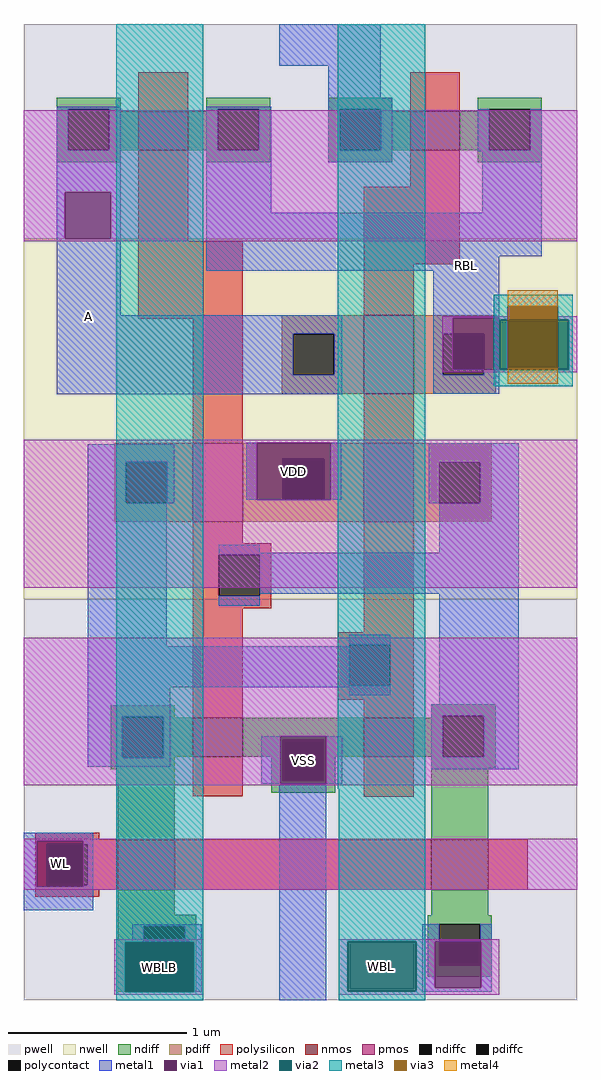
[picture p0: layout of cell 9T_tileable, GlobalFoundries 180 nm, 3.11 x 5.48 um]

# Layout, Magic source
magic
tech gf180mcuD
magscale 1 10
<< nwell >>
rect -143 -79 479 326
<< pwell >>
rect -143 326 479 567
rect -143 -529 479 -79
<< nmos >>
rect -14 425 42 469
rect 291 425 347 469
rect 47 -256 103 -212
rect 239 -256 295 -212
rect -37 -405 27 -349
rect 315 -405 379 -349
<< pmos >>
rect 239 152 295 240
rect 47 8 103 96
rect 239 8 295 96
<< ndiff >>
rect -106 471 -34 484
rect -106 425 -93 471
rect -47 469 -34 471
rect 62 471 134 484
rect 62 469 75 471
rect -47 425 -14 469
rect 42 425 75 469
rect 121 425 134 471
rect -106 412 -34 425
rect 62 412 134 425
rect 199 471 271 484
rect 199 425 212 471
rect 258 469 271 471
rect 367 471 439 484
rect 367 469 380 471
rect 258 425 291 469
rect 347 425 380 469
rect 426 425 439 471
rect 199 412 271 425
rect 367 412 439 425
rect -45 -211 27 -198
rect -45 -257 -32 -211
rect 14 -212 27 -211
rect 315 -210 387 -197
rect 315 -212 328 -210
rect 14 -256 47 -212
rect 103 -237 239 -212
rect 103 -256 148 -237
rect 14 -257 27 -256
rect -45 -270 27 -257
rect -37 -349 27 -270
rect 135 -283 148 -256
rect 194 -256 239 -237
rect 295 -256 328 -212
rect 374 -256 387 -210
rect 194 -283 207 -256
rect 135 -296 207 -283
rect 315 -268 387 -256
rect 315 -349 379 -268
rect -37 -433 27 -405
rect -37 -446 51 -433
rect 315 -434 379 -405
rect -37 -492 -8 -446
rect 38 -492 51 -446
rect -37 -520 51 -492
rect 311 -444 383 -434
rect 311 -490 324 -444
rect 370 -490 383 -444
rect 311 -503 383 -490
<< pdiff >>
rect 147 219 239 240
rect 147 173 160 219
rect 206 173 239 219
rect 147 152 239 173
rect 295 237 387 240
rect 295 219 391 237
rect 295 173 328 219
rect 374 179 391 219
rect 374 173 387 179
rect 295 152 387 173
rect -41 75 47 96
rect -41 29 -28 75
rect 18 29 47 75
rect -41 8 47 29
rect 103 79 239 96
rect 103 33 148 79
rect 194 33 239 79
rect 103 8 239 33
rect 295 75 383 96
rect 295 29 324 75
rect 370 29 383 75
rect 295 8 383 29
<< ndiffc >>
rect -93 425 -47 471
rect 75 425 121 471
rect 212 425 258 471
rect 380 425 426 471
rect -32 -257 14 -211
rect 148 -283 194 -237
rect 328 -256 374 -210
rect -8 -492 38 -446
rect 324 -490 370 -444
<< pdiffc >>
rect 160 173 206 219
rect 328 173 374 219
rect -28 29 18 75
rect 148 33 194 79
rect 324 29 370 75
<< polysilicon >>
rect -14 469 42 513
rect -14 323 42 425
rect 291 469 347 513
rect 291 384 347 425
rect -14 236 103 323
rect 239 297 347 384
rect 239 240 295 297
rect 47 96 103 236
rect 239 96 295 152
rect 47 -16 103 8
rect 47 -29 135 -16
rect 47 -75 76 -29
rect 122 -75 135 -29
rect 47 -89 135 -75
rect 47 -212 103 -89
rect 239 -116 295 8
rect 210 -130 295 -116
rect 210 -176 223 -130
rect 269 -176 295 -130
rect 210 -192 295 -176
rect 239 -212 295 -192
rect -130 -349 -58 -341
rect 47 -300 103 -256
rect 239 -301 295 -256
rect -130 -354 -37 -349
rect -130 -400 -117 -354
rect -71 -400 -37 -354
rect -130 -405 -37 -400
rect 27 -405 315 -349
rect 379 -405 423 -349
rect -130 -413 -58 -405
<< polycontact >>
rect 76 -75 122 -29
rect 223 -176 269 -130
rect -117 -400 -71 -354
<< metal1 >>
rect 144 520 258 567
rect 199 484 258 520
rect -106 471 -34 474
rect -106 425 -93 471
rect -47 425 -34 471
rect -106 378 -34 425
rect -106 326 -97 378
rect -45 326 -34 378
rect -106 240 -34 326
rect 62 471 135 474
rect 62 425 75 471
rect 121 425 135 471
rect 62 355 135 425
rect 199 471 271 484
rect 199 425 212 471
rect 258 425 271 471
rect 199 412 271 425
rect 367 425 380 471
rect 426 425 439 471
rect 367 424 439 425
rect 372 355 439 424
rect 62 306 439 355
rect 62 290 391 306
rect -106 219 215 240
rect -106 173 160 219
rect 206 173 215 219
rect -106 151 215 173
rect 317 237 391 290
rect 317 219 339 237
rect 317 173 328 219
rect 374 173 391 179
rect 317 152 391 173
rect -71 75 26 95
rect -71 29 -28 75
rect 18 29 26 75
rect 107 33 119 97
rect 202 33 214 97
rect 312 75 413 96
rect 312 29 324 75
rect 370 29 413 75
rect -71 -132 18 29
rect 76 -27 122 -18
rect 324 -27 413 29
rect 76 -29 413 -27
rect 122 -73 413 -29
rect 76 -86 122 -75
rect 223 -130 269 -119
rect -71 -176 223 -132
rect -71 -178 269 -176
rect -71 -211 22 -178
rect 223 -187 269 -178
rect 324 -197 413 -73
rect -71 -257 -32 -211
rect 14 -257 22 -211
rect 315 -210 413 -197
rect -71 -267 22 -257
rect 124 -286 145 -233
rect 197 -286 215 -233
rect 315 -256 328 -210
rect 374 -256 413 -210
rect 315 -270 413 -256
rect -143 -350 -65 -341
rect -143 -402 -128 -350
rect -76 -354 -65 -350
rect -71 -400 -65 -354
rect -76 -402 -65 -400
rect -143 -428 -65 -402
rect -21 -446 57 -444
rect -21 -463 -8 -446
rect 38 -463 57 -446
rect -21 -515 -9 -463
rect 43 -515 57 -463
rect -21 -520 57 -515
rect 144 -529 197 -286
rect 305 -463 324 -444
rect 370 -463 383 -444
rect 305 -515 319 -463
rect 371 -515 383 -463
rect 305 -520 383 -515
<< via1 >>
rect -97 326 -45 378
rect 339 219 391 237
rect 339 179 374 219
rect 374 179 391 219
rect 119 79 202 97
rect 119 33 148 79
rect 148 33 194 79
rect 194 33 202 79
rect 145 -237 197 -233
rect 145 -283 148 -237
rect 148 -283 194 -237
rect 194 -283 197 -237
rect 145 -286 197 -283
rect -128 -354 -76 -350
rect -128 -400 -117 -354
rect -117 -400 -76 -354
rect -128 -402 -76 -400
rect -9 -492 -8 -463
rect -8 -492 38 -463
rect 38 -492 43 -463
rect -9 -515 43 -492
rect 319 -490 324 -463
rect 324 -490 370 -463
rect 370 -490 371 -463
rect 319 -515 371 -490
<< metal2 >>
rect -143 378 479 470
rect -143 326 -97 378
rect -45 326 479 378
rect -143 323 479 326
rect 327 237 479 239
rect 327 179 339 237
rect 391 235 479 237
rect 391 179 392 235
rect 469 179 479 235
rect 327 176 479 179
rect -143 97 479 100
rect -143 33 119 97
rect 202 33 479 97
rect -143 -66 479 33
rect -143 -233 479 -122
rect -143 -286 145 -233
rect 197 -286 479 -233
rect -143 -288 479 -286
rect -143 -350 479 -348
rect -143 -402 -128 -350
rect -76 -402 479 -350
rect -143 -405 479 -402
rect -41 -463 59 -461
rect -41 -464 -9 -463
rect 43 -464 59 -463
rect -41 -520 -29 -464
rect 48 -520 59 -464
rect -41 -523 59 -520
rect 211 -463 391 -461
rect 211 -519 221 -463
rect 298 -515 319 -463
rect 371 -515 391 -463
rect 298 -519 391 -515
rect 211 -523 391 -519
<< via2 >>
rect 392 179 469 235
rect -29 -515 -9 -464
rect -9 -515 43 -464
rect 43 -515 48 -464
rect -29 -520 48 -515
rect 221 -519 298 -463
<< metal3 >>
rect -39 -464 59 567
rect 210 -292 308 567
rect 385 250 474 263
rect 385 235 401 250
rect 457 235 474 250
rect 385 179 392 235
rect 469 179 474 235
rect 385 160 474 179
rect -39 -520 -29 -464
rect 48 -520 59 -464
rect -39 -529 59 -520
rect 211 -463 308 -292
rect 211 -519 221 -463
rect 298 -519 308 -463
rect 211 -529 308 -519
<< via3 >>
rect 401 235 457 250
rect 401 180 457 235
<< metal4 >>
rect 401 250 457 268
rect 401 163 457 180
<< labels >>
flabel metal2 -128 -402 -76 -350 0 FreeSans 320 0 0 0 WL
port 3 nsew
flabel metal1 -106 151 -34 326 0 FreeSans 320 0 0 0 A
port 4 nsew
flabel nwell 119 33 202 97 0 FreeSans 320 0 0 0 VDD
port 6 nsew
flabel metal2 145 -286 197 -233 0 FreeSans 320 0 0 0 VSS
port 8 nsew
flabel metal1 317 237 391 355 0 FreeSans 320 0 0 0 RBL
port 5 nsew
flabel metal3 -29 -520 48 -464 0 FreeSans 320 0 0 0 WBLB
port 9 nsew
flabel via2 221 -519 298 -463 0 FreeSans 320 0 0 0 WBL
port 11 nsew
<< end >>
